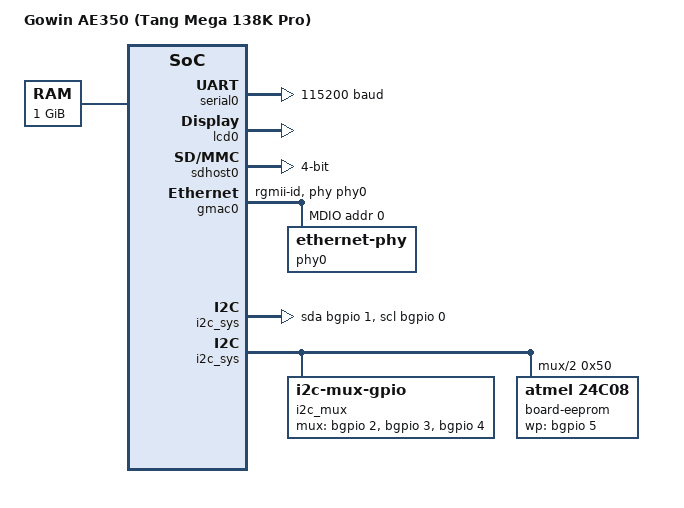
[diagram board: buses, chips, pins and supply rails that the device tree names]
/dts-v1/;

/*
 * Linux + OpenSBI device tree for the Gowin AE350 (Tang Mega 138K Pro Dock).
 * Self-contained (no U-Boot includes). Differences vs our U-Boot DT:
 *   - riscv,isa = "rv32imafdc"  (expose the FPU; userspace is ilp32d)
 *   - chosen/bootargs carry earlycon + console for the 8250 at 0xf0300020
 *     (console=tty0 too: the boot log also goes to fbcon on the LCD; ttyS0
 *     stays last, so /dev/console is the UART)
 * OpenSBI (generic) keys off: andestech,plmt0 (M-mode timer), andestech,plicsw
 * (IPI), riscv,plic0 (irqchip), ns16550a (console). 50 MHz APB/timer clocks.
 */

/ {
	#address-cells = <1>;
	#size-cells = <1>;
	compatible = "andestech,a25";	/* NOT andestech,ae350 -> that override resets this SoC */
	model = "Gowin AE350 (Tang Mega 138K Pro)";

	aliases {
		serial0 = &serial0;
	};

	chosen {
		/* no_hash_pointers: this SoC has no HW RNG, so the kernel's %p
		 * pointer-hash key never seeds and /proc/net/* prints "(ptrval)",
		 * which breaks netstat/ss parsing. Print real pointers instead
		 * (acceptable on a dev board). */
		bootargs = "console=tty0 console=ttyS0,115200n8 earlycon=uart8250,mmio32,0xf0300020 loglevel=8 no_hash_pointers";
		stdout-path = "/soc/serial@f0300000:115200n8";
	};

	cpus {
		#address-cells = <1>;
		#size-cells = <0>;
		timebase-frequency = <50000000>;	/* PLMT mtime = 50 MHz */
		CPU0: cpu@0 {
			device_type = "cpu";
			reg = <0>;
			status = "okay";
			compatible = "riscv";
			riscv,isa = "rv32imafdc";	/* FPU present (misa IMAFDC) */
			mmu-type = "riscv,sv32";
			clock-frequency = <800000000>;
			i-cache-size = <0x8000>;
			i-cache-line-size = <32>;
			d-cache-size = <0x8000>;
			d-cache-line-size = <32>;
			CPU0_intc: interrupt-controller {
				#interrupt-cells = <1>;
				interrupt-controller;
				compatible = "riscv,cpu-intc";
			};
		};
	};

	memory@0 {
		device_type = "memory";
		reg = <0x00000000 0x40000000>;		/* 1 GB DDR3 (2 x16 chips, 32-bit bus, 15 row bits) */
	};

	soc {
		#address-cells = <1>;
		#size-cells = <1>;
		compatible = "simple-bus";
		ranges;

		plic0: interrupt-controller@e4000000 {
			compatible = "andestech,nceplic100", "riscv,plic0";
			#interrupt-cells = <2>;
			interrupt-controller;
			reg = <0xe4000000 0x2000000>;
			riscv,ndev = <71>;
			interrupts-extended = <&CPU0_intc 11 &CPU0_intc 9>;
		};

		plicsw: interrupt-controller@e6400000 {
			compatible = "andestech,plicsw";
			#interrupt-cells = <1>;
			interrupt-controller;
			reg = <0xe6400000 0x400000>;
			riscv,ndev = <2>;
			interrupts-extended = <&CPU0_intc 3>;
		};

		plmt0@e6000000 {
			compatible = "andestech,plmt0";
			interrupts-extended = <&CPU0_intc 7>;
			reg = <0xe6000000 0x100000>;
		};

		serial0: serial@f0300000 {
			compatible = "andestech,uart16550", "ns16550a";
			reg = <0xf0300000 0x1000>;
			interrupts = <9 4>;
			interrupt-parent = <&plic0>;
			clock-frequency = <50000000>;	/* APB = 50 MHz */
			current-speed = <115200>;
			reg-shift = <2>;
			reg-offset = <32>;		/* 0x20 */
			no-loopback-test = <1>;
		};

		/* RGB LCD scan-out core (video/rtl), Sipeed 5" 800x480, DE mode */
		lcd0: lcd@e8001000 {
			compatible = "gowin,ae350-lcd";
			reg = <0xe8001000 0x100>;
			width = <800>;
			height = <480>;
			hfront-porch = <210>;
			hback-porch = <182>;
			vfront-porch = <45>;
			vback-porch = <8>;
		};

		/* audio out: FIFO + serialiser for the Dock's PT8211 16-bit stereo DAC
		 * (BCK E22, WS F24, DIN G24 -> headphone jack / speaker); EXTS window
		 * 0xE8002000, EXT_INT[1] = GP1 = PLIC src 11 (FIFO below threshold; GP0 = 4, GP1..15 = 11..25) */
		audio0: audio@e8002000 {
			compatible = "gowin,ae350-pt8211";
			reg = <0xe8002000 0x100>;
			interrupts = <11 4>;
			interrupt-parent = <&plic0>;
		};

		/* sensor/ -- on-die temperature (ADCLRC) + supply voltages (ADCULC),
		 * free-running scan; hwmon driver gowin-adc (no interrupt) */
		sensor0: sensor@e8004000 {
			compatible = "gowin,ae350-adc";
			reg = <0xe8004000 0x100>;
		};

		/* fan/ -- Dock fan header M1: PWM (T17) + tacho (T18); hwmon driver
		 * gowin-fan.  Dock rev 4071f switches the fan's 5 V through a
		 * P-MOSFET from the PWM pin: add gowin,pwm-inverted; there. */
		fan0: fan@e8008000 {
			compatible = "gowin,ae350-fan";
			reg = <0xe8008000 0x100>;
			clock-frequency = <50000000>;
			gowin,pulses-per-rev = <2>;
		};

		/* gpio/ -- six board-control lines behind a plain data/direction
		 * register pair (generic gpio-mmio): 0 SYS_TWI SCL (K25), 1 SDA (K26),
		 * 2..4 the Dock's 74HC4051 TWI mux select (N19/P19/P26), 5 EEPROM
		 * write protect (V14).  No board driver: i2c-gpio bit-bangs the bus,
		 * i2c-mux-gpio steers the mux, nvmem/at24 own the write protect. */
		bgpio: gpio@e8010000 {
			compatible = "wd,mbl-gpio";
			reg = <0xe8010000 0x4>, <0xe8010004 0x4>;
			reg-names = "dat", "dirout";
			gpio-controller;
			#gpio-cells = <2>;
			ngpios = <6>;
			gpio-line-names = "sys-scl", "sys-sda", "twi-sel0", "twi-sel1",
					  "twi-sel2", "eeprom-wp";
		};

		/* sdhost/ -- native 4-bit SD host with DMA for the Dock's microSD
		 * slot J19 (CLK D23, CMD D24, DAT0..3 H23/J23/A25/B25), EXT_INT[2] =
		 * GP2 = PLIC src 12; MMC host driver gowin-sdhost -> /dev/mmcblk0. */
		sdhost0: mmc@e8020000 {
			compatible = "gowin,ae350-sdhost";
			reg = <0xe8020000 0x100>;
			clock-frequency = <50000000>;
			interrupts = <12 4>;
			interrupt-parent = <&plic0>;
			bus-width = <4>;
			max-frequency = <25000000>;
		};

		gmac0: ethernet@e8000000 {
			compatible = "gowin,ae350-tse";
			reg = <0xe8000000 0x800>;
			/* MAC from the board EEPROM (boardcfg set mac ...); the driver
			 * defers its probe until the EEPROM is up, random if unset */
			nvmem-cells = <&eth_mac>;
			nvmem-cell-names = "mac-address";
			interrupts = <4 4>;	/* EXT_INT[0] = GP0 = PLIC src 4 */
			interrupt-parent = <&plic0>;
			phy-mode = "rgmii-id";	/* RGMII delay supplied by the PHY */
			phy-handle = <&phy0>;

			mdio {
				#address-cells = <1>;
				#size-cells = <0>;
				phy0: ethernet-phy@0 {
					reg = <0>;	/* RTL8211-class, MDIO addr 0 */
				};
			};
		};

		/*
		 * System reset (so `reboot` works). OpenSBI's generic platform has
		 * an atcwdt200 reset driver: on SBI cold-reboot it programs the SMU
		 * per-hart reset vector to the flash XIP base (0x80000000) then arms
		 * the ATCWDT200 watchdog -> SoC reset -> re-runs U-Boot.
		 *   - The SMU node's reg is the SMU base; its atcsmu-hsm child is what
		 *     the OpenSBI HSM driver matches to learn that base (atcsmu_base).
		 *   - The watchdog node is what the reset driver matches.
		 * The Linux kernel has no atcwdt200 driver, so it ignores both nodes.
		 */
		smu@f0100000 {
			compatible = "andestech,atcsmu";
			reg = <0xf0100000 0x1000>;
			hsm {
				compatible = "andestech,atcsmu-hsm";
			};
		};

		watchdog@f0500000 {
			compatible = "andestech,atcwdt200";
			reg = <0xf0500000 0x1000>;
		};
	};

	/* Off the soc bus: these two have no registers of their own. */
	/* The Dock's SYS_TWI bus (2.2k pull-ups), ~100 kHz.  Flag 6 =
	 * GPIO_OPEN_DRAIN (SINGLE_ENDED 2 | LINE_OPEN_DRAIN 4): gpiolib emulates
	 * it on this chip by switching the direction (input = released,
	 * output-low = driven). */
	i2c_sys: i2c-sys {
		compatible = "i2c-gpio";
		sda-gpios = <&bgpio 1 6>;
		scl-gpios = <&bgpio 0 6>;
		i2c-gpio,delay-us = <5>;
		#address-cells = <1>;
		#size-cells = <0>;
	};

	/* 8-way TWI mux (two 74HC4051, Dock sheet "TWI MUX"): 0/1 SFP0/1,
	 * 2 EEPROM, 3 DVI-A DDC, 4 DVI-B DDC, 5 DVP camera, 6/7 MIPI RX0/1.
	 * Each channel becomes its own i2c bus (/dev/i2c-1..); only the
	 * EEPROM is populated here.  Idle on the EEPROM channel. */
	i2c_mux: i2c-mux {
		compatible = "i2c-mux-gpio";
		i2c-parent = <&i2c_sys>;
		mux-gpios = <&bgpio 2 0>, <&bgpio 3 0>, <&bgpio 4 0>;
		idle-state = <2>;
		#address-cells = <1>;
		#size-cells = <0>;

		i2c_eeprom: i2c@2 {
			reg = <2>;
			#address-cells = <1>;
			#size-cells = <0>;

			/* ZD24C08A U24: 1 KB, 24C08-compatible (four 256-byte
			 * blocks at 0x50..0x53), 16-byte pages.  Hardware WP is
			 * held high by the nvmem core and dropped only for
			 * writes.  /sys/bus/nvmem/devices/board-eeprom0/nvmem */
			eeprom0: eeprom@50 {
				compatible = "atmel,24c08";
				reg = <0x50>;
				pagesize = <16>;
				wp-gpios = <&bgpio 5 0>;
				label = "board-eeprom";

				/* boardcfg(8) layout: 0x100 header, 0x110 MAC,
				 * 0x120.. key=value text (src/apps/boardcfg/) */
				nvmem-layout {
					compatible = "fixed-layout";
					#address-cells = <1>;
					#size-cells = <1>;

					eth_mac: mac-address@110 {
						reg = <0x110 6>;
					};
				};
			};
		};

		i2c_dvi_a: i2c@3 {
			reg = <3>;
			#address-cells = <1>;
			#size-cells = <0>;
		};

		i2c_dvi_b: i2c@4 {
			reg = <4>;
			#address-cells = <1>;
			#size-cells = <0>;
		};
	};
};
